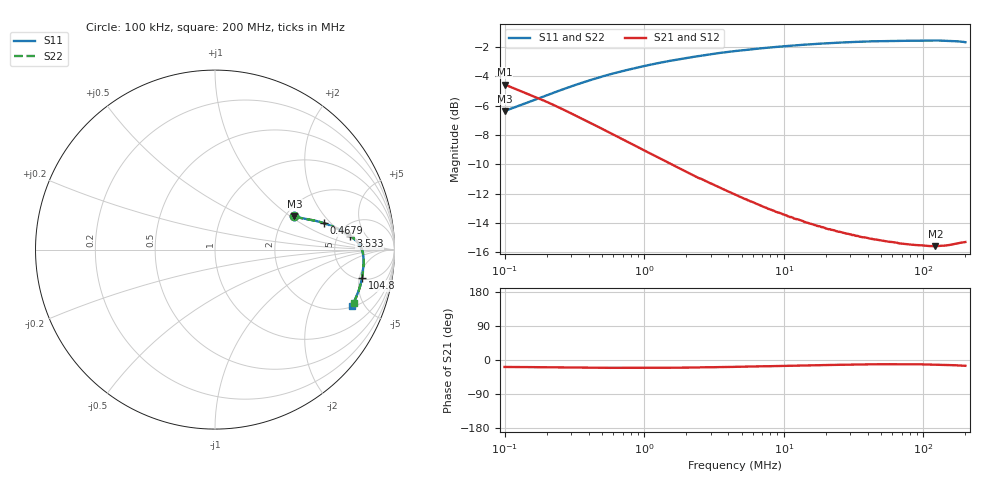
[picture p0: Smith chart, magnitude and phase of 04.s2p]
#  HZ  S  RI  R  50.00
! Rohde & Schwarz Vector Network Analyzer
! Rohde-Schwarz,ZNLE6-2Port,1323001256200024,1.71.1.10-23.02.1.238
! Created: UTC 4/11/2025, 7:40:52 AM
! freq[Hz]  re:S11  im:S11  re:S21  im:S21  re:S12  im:S12  re:S22  im:S22
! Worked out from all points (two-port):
!   1001 points, 100 kHz to 200 MHz, reference 50 ohm
!   highest |S21| = -4.57 dB at 100 kHz (marker M1); lowest = -15.6 dB at 122 MHz (marker M2)
!   |S21| within 3 dB of the highest: start of sweep to 495.6 kHz
!   lowest |S11| = -6.4 dB at 100 kHz (marker M3), VSWR 2.85, Z = 111 + j53.8 ohm
!   |S11| at or under -10 dB: nowhere
!   |S22| runs from -6.4 to -1.6 dB; largest |S21 - S12| = 0.0053
!   S11 on the Smith chart (normalised r, x): 100 kHz: 2.23, +1.08; 467.9 kHz: 3.44, +1.66; 3.533 MHz: 6.40, +2.30; 104.8 MHz: 5.29, -5.47; 200 MHz: 2.09, -4.05
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100000  0.4425 0.1858  0.5607 -0.1863  0.5612 -0.1863  0.4421 0.1856
196694.3  0.5139 0.1697  0.4888 -0.1705  0.4893 -0.1706  0.5135 0.1696
355854.1  0.5777 0.1559  0.4247 -0.1569  0.425 -0.1569  0.5774 0.1559
467852.6  0.6054 0.1478  0.3972 -0.1491  0.3976 -0.1492  0.605 0.1477
796491.6  0.6536 0.1298  0.3486 -0.1323  0.349 -0.1325  0.6532 0.1299
1266322  0.6898 0.1135  0.3116 -0.1173  0.3118 -0.1175  0.6897 0.1137
2397897  0.7316 0.0911  0.2685 -0.097  0.2687 -0.0968  0.7313 0.091
2607005  0.7372 0.0857  0.2652 -0.0927  0.2637 -0.0962  0.7368 0.0891
3533321  0.7535 0.0767  0.2487 -0.0845  0.248 -0.0853  0.7534 0.0783
4472136  0.7648 0.0681  0.2373 -0.0773  0.2363 -0.079  0.7647 0.0699
8796434  0.7925 0.0418  0.2096 -0.0592  0.209 -0.0639  0.7918 0.0455
1.591428e7  0.81 0.0184  0.1921 -0.0477  0.1914 -0.0495  0.8099 0.0208
2.945577e7  0.8232 -0.0154  0.1789 -0.0387  0.1786 -0.0394  0.823 -0.0127
3.931964e7  0.8268 -0.0368  0.1742 -0.0358  0.1739 -0.0364  0.8267 -0.0332
5.663162e7  0.8275 -0.0729  0.1691 -0.0331  0.1681 -0.0362  0.8286 -0.0659
6.299027e7  0.8277 -0.0828  0.168 -0.0333  0.1678 -0.034  0.8283 -0.0773
7.852416e7  0.8247 -0.1129  0.1657 -0.0325  0.1647 -0.0361  0.8266 -0.1039
1.048196e8  0.8188 -0.1575  0.1635 -0.0342  0.1626 -0.0376  0.8215 -0.1471
1.22029e8  0.8131 -0.1872  0.1627 -0.0354  0.1616 -0.0384  0.8161 -0.1762
1.604354e8  0.791 -0.2524  0.1642 -0.0392  0.1631 -0.0424  0.798 -0.238
1.925417e8  0.7683 -0.3019  0.1657 -0.0446  0.1646 -0.0479  0.7777 -0.2858
2e8  0.7615 -0.3119  0.1658 -0.0455  0.1648 -0.0487  0.7719 -0.2962
